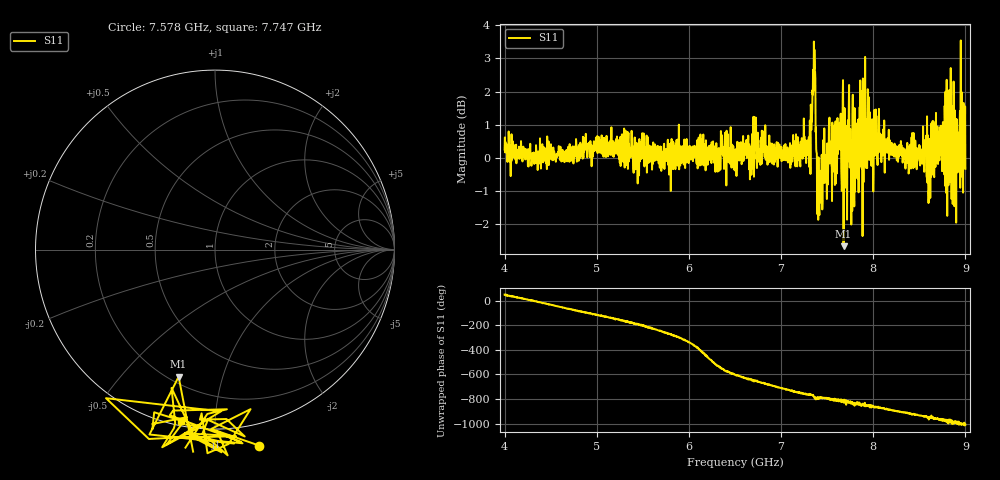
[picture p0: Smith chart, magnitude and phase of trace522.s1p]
! Created with skrf 1.8.0 (http://scikit-rf.org).
# Hz S RI R 50.0
!freq ReS11 ImS11
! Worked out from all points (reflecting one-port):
!   1601 points, 4 GHz to 9 GHz, reference 50 ohm
!   lowest |S11| = -2.7 dB at 7.678 GHz (marker M1), VSWR 6.59, Z = 11.7 - j36.4 ohm
!   phase of S11 starts at 49 deg and turns -1056 deg over the sweep
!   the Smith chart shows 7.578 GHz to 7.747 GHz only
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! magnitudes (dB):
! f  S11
! 4 GHz  0.3
! 4.625 GHz  -0.1
! 5.25 GHz  -0.1
! 5.875 GHz  0.2
! 6.5 GHz  -0.1
! 6.706 GHz  -0.6
! 7.125 GHz  0.4
! 7.294 GHz  0.3
! 7.347 GHz  2.7
! 7.369 GHz  2.6
! 7.397 GHz  -1.4
! 7.412 GHz  -1.6
! 7.525 GHz  1.2
! 7.678 GHz  -2.7
! 7.75 GHz  0.9
! 7.784 GHz  1.0
! 7.844 GHz  0.1
! 7.909 GHz  0.0
! 7.962 GHz  1.4
! 7.981 GHz  -0.2
! 8.375 GHz  -0.1
! 8.559 GHz  0.5
! 8.603 GHz  -1.0
! 8.656 GHz  1.0
! 8.834 GHz  1.2
! 8.875 GHz  0.5
! 8.959 GHz  2.0
! 9 GHz  -0.3
